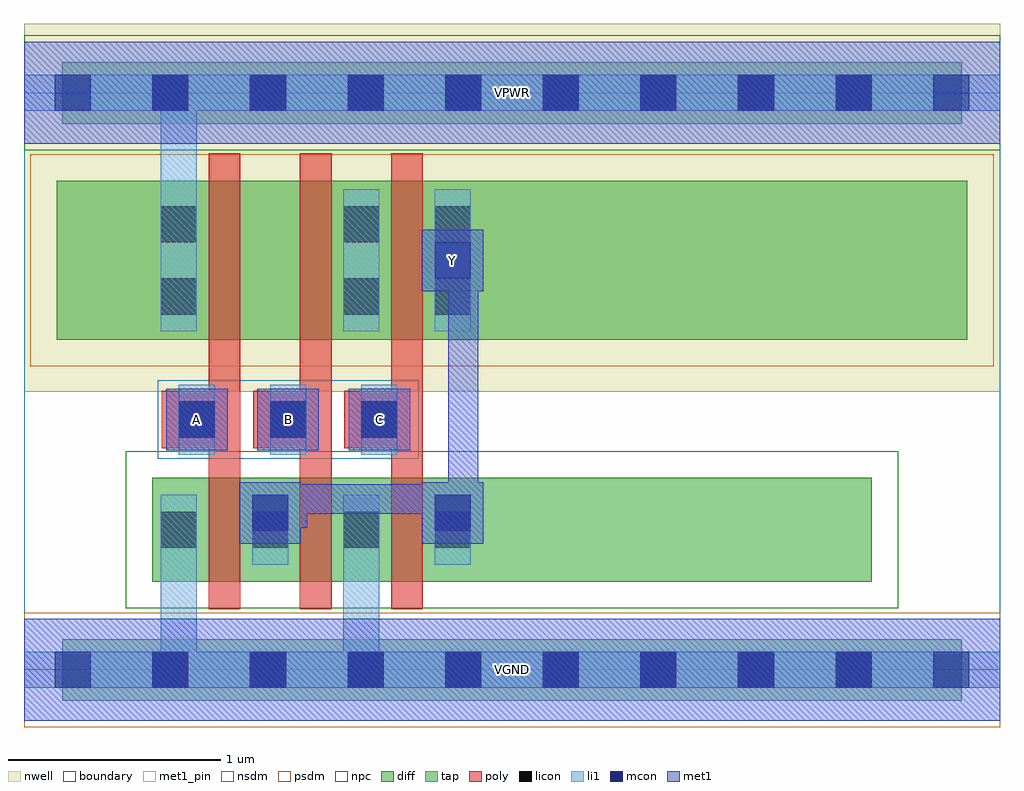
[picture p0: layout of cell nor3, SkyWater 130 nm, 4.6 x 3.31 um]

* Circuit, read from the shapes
.subckt nor3 A B C VGND VPWR Y
XM1 Y A VGND VGND sky130_fd_pr__nfet_01v8 w=0.49 l=0.15
XM2 VGND B Y VGND sky130_fd_pr__nfet_01v8 w=0.49 l=0.15
XM3 Y C VGND VGND sky130_fd_pr__nfet_01v8 w=0.49 l=0.15
XM4 n1 A VPWR VPWR sky130_fd_pr__pfet_01v8 w=0.75 l=0.15
XM5 n2 B n1 VPWR sky130_fd_pr__pfet_01v8 w=0.75 l=0.15
XM6 Y C n2 VPWR sky130_fd_pr__pfet_01v8 w=0.75 l=0.15
.ends

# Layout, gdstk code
import gdstk
lib = gdstk.Library(unit=1e-6, precision=1e-09)
def R(c, l, rs):  # rectangles x0, y0, x1, y1
    for r in rs: c.add(gdstk.rectangle(r[:2], r[2:], *l))
def A(c, l, x, y, w, h, nx, ny, dx, dy):  # array of equal rectangles
    R(c, l, [(x+i*dx, y+j*dy, x+i*dx+w, y+j*dy+h) for i in range(nx) for j in range(ny)])
nwell = (64, 20)
diff = (65, 20)
tap = (65, 44)
poly = (66, 20)
licon = (66, 44)
li1 = (67, 20)
mcon = (67, 44)
met1_pin = (68, 16)
met1 = (68, 20)
nsdm = (93, 44)
psdm = (94, 20)
npc = (95, 20)
boundary = (235, 4)

nor3 = lib.new_cell('nor3')
R(nor3, nwell, [(0,1.31,4.6,3.045)])
R(nor3, diff, [(0.605,0.415,3.995,0.905), (0.155,1.555,4.445,2.305)])
R(nor3, tap, [(0.18,-0.145,4.42,0.145), (0.18,2.575,4.42,2.865)])
A(nor3, poly, 0.87, 0.285, 0.15, 2.15, 3, 1, 0.43, 0)
A(nor3, poly, 0.65, 1.045, 0.33, 0.27, 3, 1, 0.43, 0)
A(nor3, licon, 0.605, -0.085, 0.17, 0.17, 8, 2, 0.46, 2.72)
A(nor3, licon, 0.645, 0.575, 0.17, 0.17, 4, 1, 0.43, 0)
A(nor3, licon, 0.73, 1.095, 0.17, 0.17, 3, 1, 0.43, 0)
R(nor3, licon, [(0.645,1.675,0.815,1.845), (1.505,1.675,1.675,1.845), (1.935,1.675,2.105,1.845), (0.645,2.015,0.815,2.185), (1.505,2.015,1.675,2.185), (1.935,2.015,2.105,2.185)])
A(nor3, li1, 0.645, 0.495, 0.17, 0.33, 4, 1, 0.43, 0)
A(nor3, li1, 0.73, 1.015, 0.17, 0.33, 3, 1, 0.43, 0)
R(nor3, li1, [(0,-0.085,4.6,0.085), (0.645,-0.085,0.815,0.825), (1.505,-0.085,1.675,0.825), (0.645,1.595,0.815,2.265), (0.645,1.595,0.815,2.805), (1.505,1.595,1.675,2.265), (1.935,1.595,2.105,2.265), (0,2.635,4.6,2.805)])
A(nor3, mcon, 0.145, -0.085, 0.17, 0.17, 10, 2, 0.46, 2.72)
A(nor3, mcon, 0.73, 1.095, 0.17, 0.17, 3, 1, 0.43, 0)
R(nor3, mcon, [(1.075,0.655,1.245,0.825), (1.935,0.655,2.105,0.825), (1.935,1.845,2.105,2.015)])
A(nor3, met1_pin, 0.67, 1.035, 0.29, 0.29, 3, 1, 0.43, 0)
R(nor3, met1_pin, [(0,-0.24,4.6,0.24), (1.875,1.785,2.165,2.075), (0,2.48,4.6,2.96)])
A(nor3, met1, 0.67, 1.035, 0.29, 0.29, 3, 1, 0.43, 0)
R(nor3, met1, [(0,-0.24,4.6,0.24), (1.015,0.595,1.305,0.885), (1.875,0.595,2.165,0.885), (1.09,0.67,1.335,0.81), (1.195,0.67,1.335,0.875), (1.95,0.67,2.14,0.81), (2,0.67,2.14,0.99), (1.195,0.735,2.14,0.875), (2,0.735,2.14,0.99), (2,0.85,2.14,2.025), (1.875,1.785,2.165,2.075), (2,1.885,2.14,2.025), (0,2.48,4.6,2.96)])
R(nor3, nsdm, [(0.48,0.29,4.12,1.03), (0,2.45,4.6,2.99)])
R(nor3, psdm, [(0,-0.27,4.6,0.27), (0.03,1.43,4.57,2.43)])
R(nor3, npc, [(0.63,0.995,1.86,1.365)])
R(nor3, boundary, [(0,0,4.6,2.72)])
nor3.add(gdstk.Label('A', (0.815,1.18), layer=68, texttype=5))
nor3.add(gdstk.Label('B', (1.245,1.18), layer=68, texttype=5))
nor3.add(gdstk.Label('C', (1.675,1.18), layer=68, texttype=5))
nor3.add(gdstk.Label('Y', (2.02,1.93), layer=68, texttype=5))
nor3.add(gdstk.Label('VPWR', (2.3,2.72), layer=68, texttype=5))
nor3.add(gdstk.Label('VGND', (2.3,0), layer=68, texttype=5))
nor3.add(gdstk.Label('A', (0.815,1.18), layer=68, texttype=16))
nor3.add(gdstk.Label('B', (1.245,1.18), layer=68, texttype=16))
nor3.add(gdstk.Label('C', (1.675,1.18), layer=68, texttype=16))
nor3.add(gdstk.Label('Y', (2.02,1.93), layer=68, texttype=16))
nor3.add(gdstk.Label('VPWR', (2.3,2.72), layer=68, texttype=16))
nor3.add(gdstk.Label('VGND', (2.3,0), layer=68, texttype=16))

lib.write_gds('nor3.gds')
